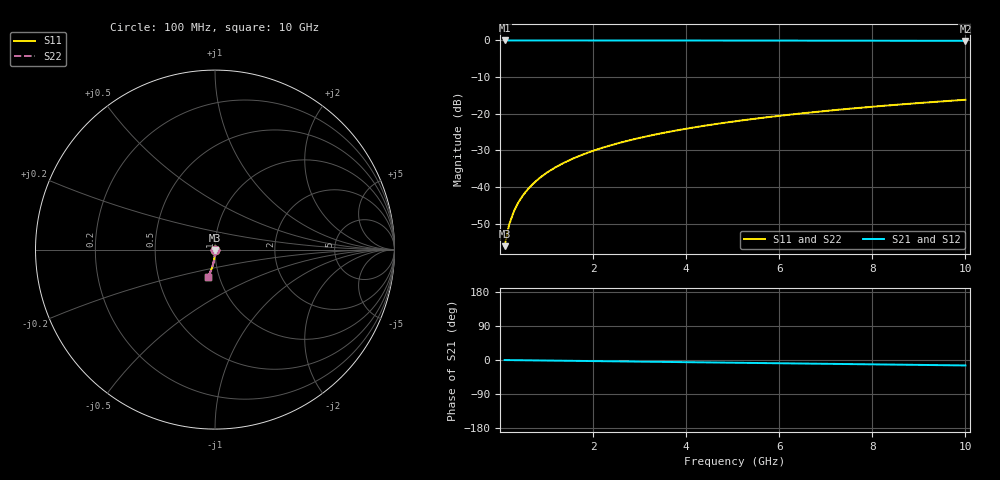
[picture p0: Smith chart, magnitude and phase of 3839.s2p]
# Hz S RI R 50.00
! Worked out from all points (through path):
!   100 points, 100 MHz to 10 GHz, reference 50 ohm
!   highest |S21| = 0.00 dB at 100 MHz (marker M1); lowest = -0.1 dB at 10 GHz (marker M2)
!   group delay of S21, straight-line fit = 3.99 ps
!   lowest |S11| = -56.1 dB at 100 MHz (marker M3), VSWR 1.00, Z = 50 - j0.156 ohm
!   |S11| at or under -10 dB: start of sweep to end of sweep
!   |S22| runs from -56.1 to -16.2 dB; largest |S21 - S12| = 0
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1e8  0.000113 -0.00156  0.9999 -0.00248  0.9999 -0.00248  0.000113 -0.00156
2e8  9.98e-05 -0.00311  0.9999 -0.00497  0.9999 -0.00497  9.98e-05 -0.00311
3e8  7.91e-05 -0.00467  0.9998 -0.00745  0.9998 -0.00745  7.91e-05 -0.00467
4e8  5.06e-05 -0.00622  0.9998 -0.00994  0.9998 -0.00994  5.06e-05 -0.00622
5e8  1.43e-05 -0.00778  0.9998 -0.0124  0.9998 -0.0124  1.43e-05 -0.00778
6e8  -2.98e-05 -0.00933  0.9997 -0.0149  0.9997 -0.0149  -2.98e-05 -0.00933
7e8  -8.17e-05 -0.0109  0.9997 -0.0174  0.9997 -0.0174  -8.17e-05 -0.0109
8e8  -0.000141 -0.0124  0.9996 -0.0199  0.9996 -0.0199  -0.000141 -0.0124
9e8  -0.000209 -0.014  0.9995 -0.0224  0.9995 -0.0224  -0.000209 -0.014
1.1e9  -0.000367 -0.0171  0.9993 -0.0273  0.9993 -0.0273  -0.000367 -0.0171
1.4e9  -0.000663 -0.0218  0.999 -0.0348  0.999 -0.0348  -0.000663 -0.0218
1.8e9  -0.00117 -0.028  0.9984 -0.0448  0.9984 -0.0448  -0.00117 -0.028
2.1e9  -0.00163 -0.0327  0.9979 -0.0522  0.9979 -0.0522  -0.00163 -0.0327
2.5e9  -0.00235 -0.0389  0.9971 -0.0622  0.9971 -0.0622  -0.00235 -0.0389
2.9e9  -0.00319 -0.0451  0.9962 -0.0721  0.9962 -0.0721  -0.00319 -0.0451
3.4e9  -0.00443 -0.0528  0.9948 -0.0845  0.9948 -0.0845  -0.00443 -0.0528
4.2e9  -0.00681 -0.0652  0.9922 -0.1044  0.9922 -0.1044  -0.00681 -0.0652
5.1e9  -0.0101 -0.0789  0.9885 -0.1266  0.9885 -0.1266  -0.0101 -0.0789
5.9e9  -0.0135 -0.091  0.9847 -0.1463  0.9847 -0.1463  -0.0135 -0.091
6.7e9  -0.0174 -0.103  0.9803 -0.1659  0.9803 -0.1659  -0.0174 -0.103
8.4e9  -0.0273 -0.1278  0.9693 -0.207  0.9693 -0.207  -0.0273 -0.1278
1e10  -0.0385 -0.1502  0.9567 -0.2449  0.9567 -0.2449  -0.0385 -0.1502
